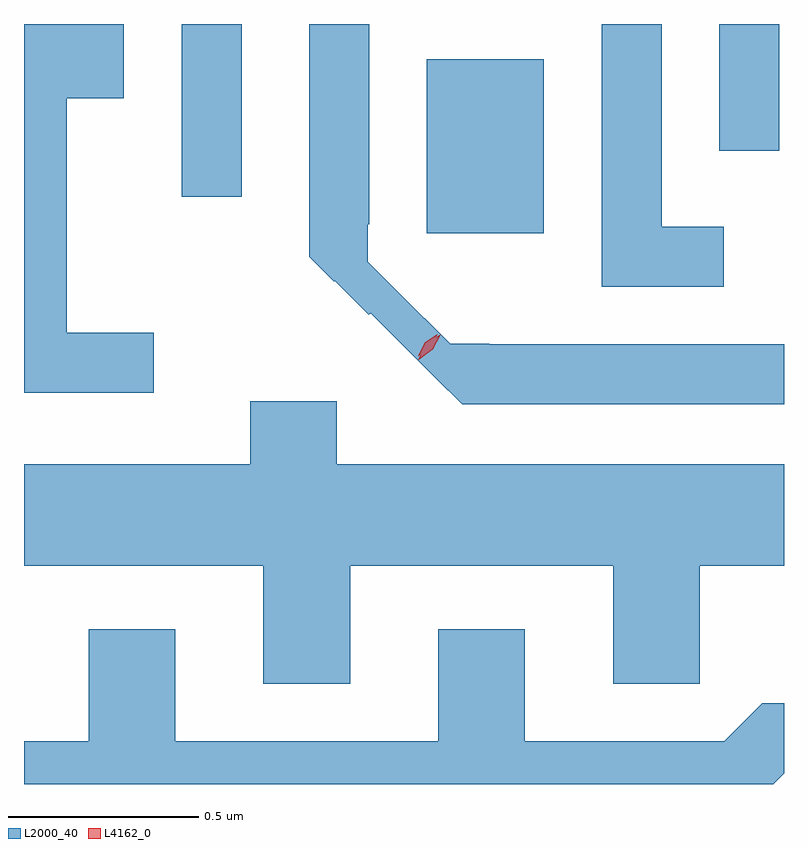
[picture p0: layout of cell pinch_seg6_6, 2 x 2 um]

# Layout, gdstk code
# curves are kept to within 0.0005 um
import gdstk
lib = gdstk.Library(unit=1e-6, precision=1e-09)
def R(c, l, rs):  # rectangles x0, y0, x1, y1
    for r in rs: c.add(gdstk.rectangle(r[:2], r[2:], *l))
def P(c, l, *ps):  # polygons
    for p in ps: c.add(gdstk.Polygon(p, *l))
L2000_40 = (2000, 40)
L4162_0 = (4162, 0)

pinch_seg6_6 = lib.new_cell('pinch_seg6_6')
R(pinch_seg6_6, L2000_40, [(820.971,1641.931,821.279,1642.389), (820.326,1642.028,820.484,1642.482), (821.741,1642.148,821.899,1642.482)])
P(pinch_seg6_6, L2000_40, [(820.253,1641.669),(820.024,1641.669),(820.024,1642.286),(820.174,1642.286),(820.174,1642.482),(819.911,1642.482),(819.911,1641.511),(820.253,1641.511)],
  [(821.753,1641.949),(821.589,1641.949),(821.589,1642.482),(821.431,1642.482),(821.431,1641.791),(821.753,1641.791)],
  [(821.911,1641.639),(821.135,1641.639),(821.135,1641.641),(821.033,1641.641),(820.816,1641.857),(820.816,1641.955),(820.819,1641.955),(820.819,1642.482),(820.661,1642.482),(820.661,1641.87),(820.727,1641.804),(820.729,1641.806),(820.818,1641.717),(820.823,1641.721),(821.064,1641.481),(821.911,1641.481)],
  [(820.769,1641.056),(821.461,1641.056),(821.461,1640.746),(821.689,1640.746),(821.689,1641.056),(821.911,1641.056),(821.911,1641.324),(820.734,1641.324),(820.734,1641.489),(820.506,1641.489),(820.506,1641.324),(819.911,1641.324),(819.911,1641.056),(820.541,1641.056),(820.541,1640.746),(820.769,1640.746)],
  [(821.911,1640.51),(821.911,1640.694),(821.854,1640.694),(821.754,1640.594),(821.229,1640.594),(821.229,1640.889),(821.001,1640.889),(821.001,1640.594),(820.309,1640.594),(820.309,1640.889),(820.081,1640.889),(820.081,1640.594),(819.911,1640.594),(819.911,1640.482),(821.883,1640.482)])
P(pinch_seg6_6, L4162_0, [(820.948,1641.608),(820.948,1641.608),(820.966,1641.643),(820.998,1641.666),(820.999,1641.666),(820.999,1641.665),(820.981,1641.63),(820.948,1641.608)],
  [(820.949,1641.598),(820.949,1641.599),(820.971,1641.639),(821.008,1641.666),(821.008,1641.666),(821.008,1641.665),(820.986,1641.626),(820.95,1641.598)])

lib.write_gds('pinch_seg6_6.gds')
